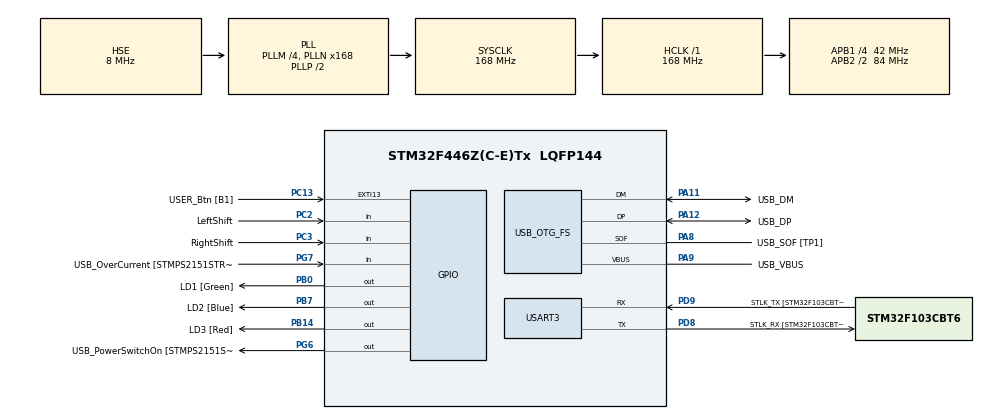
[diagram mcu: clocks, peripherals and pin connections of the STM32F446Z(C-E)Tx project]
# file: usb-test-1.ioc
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Mcu.Family=STM32F4
Mcu.Name=STM32F446Z(C-E)Tx
Mcu.Package=LQFP144
NVIC.OTG_FS_IRQn=true\:0\:0\:false\:false\:true\:false\:true\:true
NVIC.PriorityGroup=NVIC_PRIORITYGROUP_4
PA10.GPIO_Label=USB_ID
PA10.Signal=USB_OTG_FS_ID
PA11.GPIO_Label=USB_DM
PA11.Mode=Device_Only
PA11.Signal=USB_OTG_FS_DM
PA12.GPIO_Label=USB_DP
PA12.Mode=Device_Only
PA12.Signal=USB_OTG_FS_DP
PA13.GPIO_Label=TMS
PA13.Mode=Serial_Wire
PA13.Signal=SYS_JTMS-SWDIO
PA14.GPIO_Label=TCK
PA14.Mode=Serial_Wire
PA14.Signal=SYS_JTCK-SWCLK
PA8.GPIO_Label=USB_SOF [TP1]
PA8.Mode=Activate_SOF_FS
PA8.Signal=USB_OTG_FS_SOF
PA9.GPIO_Label=USB_VBUS
PA9.Mode=Activate_VBUS
PA9.Signal=USB_OTG_FS_VBUS
PB0.GPIO_Label=LD1 [Green]
PB0.Signal=GPIO_Output
PB14.GPIO_Label=LD3 [Red]
PB14.Signal=GPIO_Output
PB7.GPIO_Label=LD2 [Blue]
PB7.Signal=GPIO_Output
PC13.GPIO_Label=USER_Btn [B1]
PC13.Signal=GPXTI13
PC14-OSC32_IN.Mode=LSE-External-Oscillator
PC14-OSC32_IN.Signal=RCC_OSC32_IN
PC15-OSC32_OUT.Mode=LSE-External-Oscillator
PC15-OSC32_OUT.Signal=RCC_OSC32_OUT
PC2.GPIO_Label=LeftShift
PC2.GPIO_PuPd=GPIO_PULLUP
PC2.Signal=GPIO_Input
PC3.GPIO_Label=RightShift
PC3.GPIO_PuPd=GPIO_PULLUP
PC3.Signal=GPIO_Input
PD8.GPIO_Label=STLK_RX [STM32F103CBT6_PA3]
PD8.Mode=Asynchronous
PD8.Signal=USART3_TX
PD9.GPIO_Label=STLK_TX [STM32F103CBT6_PA2]
PD9.Mode=Asynchronous
PD9.Signal=USART3_RX
PG6.GPIO_Label=USB_PowerSwitchOn [STMPS2151STR_EN]
PG6.Signal=GPIO_Output
PG7.GPIO_Label=USB_OverCurrent [STMPS2151STR_FAULT]
PG7.Signal=GPIO_Input
PH0-OSC_IN.GPIO_Label=MCO [STM32F103CBT6_PA8]
PH0-OSC_IN.Mode=HSE-External-Clock-Source
PH0-OSC_IN.Signal=RCC_OSC_IN
PH1-OSC_OUT.Mode=HSE-External-Clock-Source
PH1-OSC_OUT.Signal=RCC_OSC_OUT
ProjectManager.HeapSize=0x200
ProjectManager.StackSize=0x400
ProjectManager.TargetToolchain=Makefile
RCC.48MHZClocksFreq_Value=24000000
RCC.AHBFreq_Value=168000000
RCC.APB1CLKDivider=RCC_HCLK_DIV4
RCC.APB1Freq_Value=42000000
RCC.APB1TimFreq_Value=84000000
RCC.APB2CLKDivider=RCC_HCLK_DIV2
RCC.APB2Freq_Value=84000000
RCC.APB2TimFreq_Value=168000000
RCC.CortexFreq_Value=168000000
RCC.HCLKFreq_Value=168000000
RCC.HSE_VALUE=8000000
RCC.HSI_VALUE=16000000
RCC.PLLM=4
RCC.PLLMUL=RCC_PLL_MUL9
RCC.PLLN=168
RCC.PLLQ=7
RCC.PRESCALERUSB=RCC_USBCLKSOURCE_PLL_DIV1_5
RCC.SYSCLKFreq_VALUE=168000000
RCC.SYSCLKSource=RCC_SYSCLKSOURCE_PLLCLK
RCC.SYSCLKSourceVirtual=RCC_SYSCLKSOURCE_PLLCLK
RCC.USBFreq_Value=48000000
RCC.VCOOutputFreq_Value=336000000
USART3.VirtualMode=VM_ASYNC
USB_DEVICE.CLASS_NAME_FS=HID
USB_DEVICE.VirtualMode-HID_FS=Hid
USB_DEVICE.VirtualModeFS=Hid_FS
USB_OTG_FS.VirtualMode=Device_Only
VP_USB_DEVICE_VS_USB_DEVICE_HID_FS.Mode=HID_FS
board=NUCLEO-F446ZE

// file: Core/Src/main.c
#include "main.h"
#include "usb_device.h"
#include <stdbool.h>
#include "key_mapping.h"

UART_HandleTypeDef huart3;

void SystemClock_Config(void);
static void MX_GPIO_Init(void);
static void MX_USART3_UART_Init(void);

/* USER CODE BEGIN 0 */
#define CLICK_REPORT_SIZE 5
uint8_t click_report[CLICK_REPORT_SIZE] = {0};

// defined in Device Class Definition for Human Interface Devices (HID)
// Appendix B, B.1 Protocol 1 (Keyboard)
#define PRESS_REPORT_SIZE 8
uint8_t press_report[PRESS_REPORT_SIZE] = {0};

  struct keyboardHID_t {
      uint8_t id;
      uint8_t modifiers;
      uint8_t key1;
      uint8_t key2;
      uint8_t key3;
  };

extern USBD_HandleTypeDef hUsbDeviceFS;
/* USER CODE END 0 */

#define X(en,str,port,pin,key, altkey, debugKey) en,
enum xUserControlsEnum {XKEYS};
#undef X

#define X(en,str,port,pin,key, altkey, debugKey) str,
const char * xUserControls[] = {XKEYS};
#undef X

#define X(en,str,port,pin,key, altkey, debugKey) port,
const GPIO_TypeDef * xIoPorts[] = {XKEYS};
#undef X

#define X(en,str,port,pin,key, altkey, debugKey) pin,
const uint16_t xIoPins[] = {XKEYS};
#undef X

#define X(en,str,port,pin,key, altkey, debugKey) key,
const uint16_t xKeys[] = {XKEYS};
#undef X
#define X(en,str,port,pin,key, altkey, debugKey) altkey,
const uint16_t xAltKeycodes[] = {XKEYS};
#undef X

#define X(en,str,port,pin,key, altkey, debugKey) debugKey,
const uint16_t xDebugKeycodes[] = {XKEYS};
#undef X

static const uint16_t ioPins[]         = { (GPIO_PIN_14), (GPIO_PIN_8), (GPIO_PIN_14), (GPIO_PIN_5), (GPIO_PIN_12),
                                           (GPIO_PIN_1), (GPIO_PIN_12), (GPIO_PIN_7), (GPIO_PIN_5), (GPIO_PIN_3),
                                           (GPIO_PIN_13), (GPIO_PIN_4), (GPIO_PIN_7), (GPIO_PIN_6)};
const GPIO_TypeDef * ioPorts[]  = {        (GPIOD),      (GPIOE),       (GPIOF),      (GPIOF),       (GPIOB),
                                           (GPIOB),       (GPIOF),      (GPIOG),      (GPIOD),      (GPIOC),
                                           (GPIOC),       (GPIOA),      (GPIOF),      (GPIOF)};

const uint16_t userControlsIndex[] =      {P1_RIGHT, P1_LEFT,P1_UP, P1_DOWN,  P1_B1,
                                          P1_B2,   P1_B3,   P1_B4,   P1_B5,   P1_B6,
                                           COIN1, P1_Start,  Shift,  Extra2};

const uint16_t keycodes[] =                {KEYBOARD_A, KEYBOARD_B, KEYBOARD_C, KEYBOARD_D, KEYBOARD_E,
                                            KEYBOARD_F, KEYBOARD_G, KEYBOARD_H, KEYBOARD_I, KEYBOARD_J,
                                            KEYBOARD_K, KEYBOARD_L, KEYBOARD_M, SPECIAL_SHIFT,
                                             KEYBOARD_O, KEYBOARD_P, KEYBOARD_Q};

const uint16_t mameKeycodes[] =             {KEYBOARD_RIGHT, KEYBOARD_LEFT, KEYBOARD_UP, KEYBOARD_DOWN,  KEYBOARD_E,
                                            KEYBOARD_F, KEYBOARD_G, KEYBOARD_H, KEYBOARD_I, KEYBOARD_J,
                                            KEYBOARD_K, KEYBOARD_L, KEYBOARD_M, SPECIAL_SHIFT,
                                             KEYBOARD_O, KEYBOARD_P, KEYBOARD_Q};

const uint16_t shiftedKeycodes[] =         {KEYBOARD_RIGHT, KEYBOARD_LEFT, KEYBOARD_UP, KEYBOARD_DOWN,  KEYBOARD_E,
                                            KEYBOARD_F, KEYBOARD_G, KEYBOARD_H, KEYBOARD_I, KEYBOARD_J,
                                            KEYBOARD_K, KEYBOARD_L, KEYBOARD_M, SPECIAL_SHIFT,
                                             KEYBOARD_O, KEYBOARD_P, KEYBOARD_Q};

#define CTL_COUNT 14

int main(void)
{
  /* USER CODE BEGIN 1 */
  struct keyboardHID_t keyboardHID;
  keyboardHID.id = 1;
  keyboardHID.modifiers = 0;
  keyboardHID.key1 = 0;
  keyboardHID.key2 = 0;
  keyboardHID.key3 = 0;
  /* USER CODE END 1 */

  /* MCU Configuration--------------------------------------------------------*/

  /* Reset of all peripherals, Initializes the Flash interface and the Systick. */
  HAL_Init();

  /* Configure the system clock */
  SystemClock_Config();

  /* Initialize all configured peripherals */
  MX_GPIO_Init();
  MX_USART3_UART_Init();
  MX_USB_DEVICE_Init();

  /* Infinite loop */
  /* USER CODE BEGIN WHILE */
  while (1)
  {

    //read gpio port c
    // if(HAL_GPIO_ReadPin(LeftShift_GPIO_Port,LeftShift_Pin) == GPIO_PIN_RESET )
    // {
    //   press_report[0] |= 0x02;
    //   HAL_GPIO_WritePin(LD1_GPIO_Port, LD1_Pin, GPIO_PIN_SET);
    // }

    // if(HAL_GPIO_ReadPin(RightShift_GPIO_Port,RightShift_Pin) == GPIO_PIN_RESET )
    // {
    //   press_report[0] |= 0x20;
    //   HAL_GPIO_WritePin(LD1_GPIO_Port, LD1_Pin, GPIO_PIN_SET);
    // }

    //clear the press report
    for(int i = 0; i < PRESS_REPORT_SIZE; i++)
    {
      press_report[i] = 0x00;
    }

    bool keyDown = false;
    uint32_t reportIndex = 2;

    bool useShiftedKeycodes = false;
    //check for Shift key
    if (HAL_GPIO_ReadPin(xIoPorts[EN_SPECIAL_SHIFT], xIoPins[EN_SPECIAL_SHIFT]) == GPIO_PIN_RESET)
    {
        useShiftedKeycodes = true;
    }

    for (int i = 0; i < EN_CONTROL_COUNT; i++)
    {
        if (HAL_GPIO_ReadPin(xIoPorts[i], xIoPins[i]) == GPIO_PIN_RESET)
        {
            uint16_t keycode = 0;
            if(useShiftedKeycodes)
            {
                keycode = xAltKeycodes[i];
            }
            else
            {
                keycode = xKeys[i];
            }

            //now check for control keys
            if(keycode >= KEYBOARD_LCTRL && keycode <= KEYBOARD_RGUI)
            {
                press_report[0] |= (0x01 << (keycode - 0xE0));
            }
            else
            {
                press_report[reportIndex] = keycode;
                reportIndex++;
            }

            HAL_GPIO_WritePin(LD1_GPIO_Port, LD1_Pin, GPIO_PIN_SET);
            keyDown = true;

        }

        if (reportIndex == PRESS_REPORT_SIZE)
        {
            reportIndex = 2;
        }
    }

  //led off if no flipper down
    if(keyDown == false)
    {
      HAL_GPIO_WritePin(LD1_GPIO_Port, LD1_Pin, GPIO_PIN_RESET);
    }

    //read in all other buttons

    //start game

    //credit

    //plunger

    //credit 2

    //left/right mag save

    //mame - eb buyin, coin3 coin4, door, cancel, up,down,enter

    USBD_HID_SendReport(&hUsbDeviceFS, press_report, PRESS_REPORT_SIZE);
    HAL_Delay(20);
  }
  /* USER CODE END 3 */
}

void SystemClock_Config(void)
{
  RCC_OscInitTypeDef RCC_OscInitStruct = {0};
  RCC_ClkInitTypeDef RCC_ClkInitStruct = {0};

  /** Configure the main internal regulator output voltage
  */
  __HAL_RCC_PWR_CLK_ENABLE();
  __HAL_PWR_VOLTAGESCALING_CONFIG(PWR_REGULATOR_VOLTAGE_SCALE1);

  /** Initializes the RCC Oscillators according to the specified parameters
  * in the RCC_OscInitTypeDef structure.
  */
  RCC_OscInitStruct.OscillatorType = RCC_OSCILLATORTYPE_HSE;
  RCC_OscInitStruct.HSEState = RCC_HSE_BYPASS;
  RCC_OscInitStruct.PLL.PLLState = RCC_PLL_ON;
  RCC_OscInitStruct.PLL.PLLSource = RCC_PLLSOURCE_HSE;
  RCC_OscInitStruct.PLL.PLLM = 4;
  RCC_OscInitStruct.PLL.PLLN = 168;
  RCC_OscInitStruct.PLL.PLLP = RCC_PLLP_DIV2;
  RCC_OscInitStruct.PLL.PLLQ = 7;
  RCC_OscInitStruct.PLL.PLLR = 2;
  if (HAL_RCC_OscConfig(&RCC_OscInitStruct) != HAL_OK)
  {
    Error_Handler();
  }

  /** Initializes the CPU, AHB and APB buses clocks
  */
  RCC_ClkInitStruct.ClockType = RCC_CLOCKTYPE_HCLK|RCC_CLOCKTYPE_SYSCLK
                              |RCC_CLOCKTYPE_PCLK1|RCC_CLOCKTYPE_PCLK2;
  RCC_ClkInitStruct.SYSCLKSource = RCC_SYSCLKSOURCE_PLLCLK;
  RCC_ClkInitStruct.AHBCLKDivider = RCC_SYSCLK_DIV1;
  RCC_ClkInitStruct.APB1CLKDivider = RCC_HCLK_DIV4;
  RCC_ClkInitStruct.APB2CLKDivider = RCC_HCLK_DIV2;

  if (HAL_RCC_ClockConfig(&RCC_ClkInitStruct, FLASH_LATENCY_5) != HAL_OK)
  {
    Error_Handler();
  }
}

static void MX_USART3_UART_Init(void)
{

  huart3.Instance = USART3;
  huart3.Init.BaudRate = 115200;
  huart3.Init.WordLength = UART_WORDLENGTH_8B;
  huart3.Init.StopBits = UART_STOPBITS_1;
  huart3.Init.Parity = UART_PARITY_NONE;
  huart3.Init.Mode = UART_MODE_TX_RX;
  huart3.Init.HwFlowCtl = UART_HWCONTROL_NONE;
  huart3.Init.OverSampling = UART_OVERSAMPLING_16;
  if (HAL_UART_Init(&huart3) != HAL_OK)
  {
    Error_Handler();
  }

}

static void MX_GPIO_Init(void)
{
  GPIO_InitTypeDef GPIO_InitStruct = {0};

  /* GPIO Ports Clock Enable */
  __HAL_RCC_GPIOC_CLK_ENABLE();
  __HAL_RCC_GPIOH_CLK_ENABLE();
  __HAL_RCC_GPIOB_CLK_ENABLE();
  __HAL_RCC_GPIOD_CLK_ENABLE();
  __HAL_RCC_GPIOG_CLK_ENABLE();
  __HAL_RCC_GPIOA_CLK_ENABLE();
  __HAL_RCC_GPIOE_CLK_ENABLE();
  __HAL_RCC_GPIOF_CLK_ENABLE();

  /*Configure GPIO pin Output Level */
  HAL_GPIO_WritePin(GPIOB, LD1_Pin|LD3_Pin|LD2_Pin, GPIO_PIN_RESET);

  /*Configure GPIO pin Output Level */
  HAL_GPIO_WritePin(USB_PowerSwitchOn_GPIO_Port, USB_PowerSwitchOn_Pin, GPIO_PIN_RESET);

  /*Configure GPIO pin : USER_Btn_Pin */
  GPIO_InitStruct.Pin = USER_Btn_Pin;
  GPIO_InitStruct.Mode = GPIO_MODE_IT_RISING;
  GPIO_InitStruct.Pull = GPIO_NOPULL;
  HAL_GPIO_Init(USER_Btn_GPIO_Port, &GPIO_InitStruct);

  /*Configure GPIO pins : LeftShift_Pin RightShift_Pin */
  GPIO_InitStruct.Pin = LeftShift_Pin|RightShift_Pin;
  GPIO_InitStruct.Mode = GPIO_MODE_INPUT;
  GPIO_InitStruct.Pull = GPIO_PULLUP;
  HAL_GPIO_Init(GPIOC, &GPIO_InitStruct);

  for(int i = 0; i < EN_CONTROL_COUNT; i++)
  {
    GPIO_InitStruct.Pin =  xIoPins[i];
    GPIO_InitStruct.Mode = GPIO_MODE_INPUT;
    GPIO_InitStruct.Pull = GPIO_PULLUP;
    HAL_GPIO_Init(xIoPorts[i], &GPIO_InitStruct);
  }

  /*Configure GPIO pins : LD1_Pin LD3_Pin LD2_Pin */
  GPIO_InitStruct.Pin = LD1_Pin|LD3_Pin|LD2_Pin;
  GPIO_InitStruct.Mode = GPIO_MODE_OUTPUT_PP;
  GPIO_InitStruct.Pull = GPIO_NOPULL;
  GPIO_InitStruct.Speed = GPIO_SPEED_FREQ_LOW;
  HAL_GPIO_Init(GPIOB, &GPIO_InitStruct);

  /*Configure GPIO pin : USB_PowerSwitchOn_Pin */
  GPIO_InitStruct.Pin = USB_PowerSwitchOn_Pin;
  GPIO_InitStruct.Mode = GPIO_MODE_OUTPUT_PP;
  GPIO_InitStruct.Pull = GPIO_NOPULL;
  GPIO_InitStruct.Speed = GPIO_SPEED_FREQ_LOW;
  HAL_GPIO_Init(USB_PowerSwitchOn_GPIO_Port, &GPIO_InitStruct);

  /*Configure GPIO pin : USB_OverCurrent_Pin */
  GPIO_InitStruct.Pin = USB_OverCurrent_Pin;
  GPIO_InitStruct.Mode = GPIO_MODE_INPUT;
  GPIO_InitStruct.Pull = GPIO_NOPULL;
  HAL_GPIO_Init(USB_OverCurrent_GPIO_Port, &GPIO_InitStruct);

}

void Error_Handler(void)
{
  __disable_irq();
  while (1)
  {
  }
}
